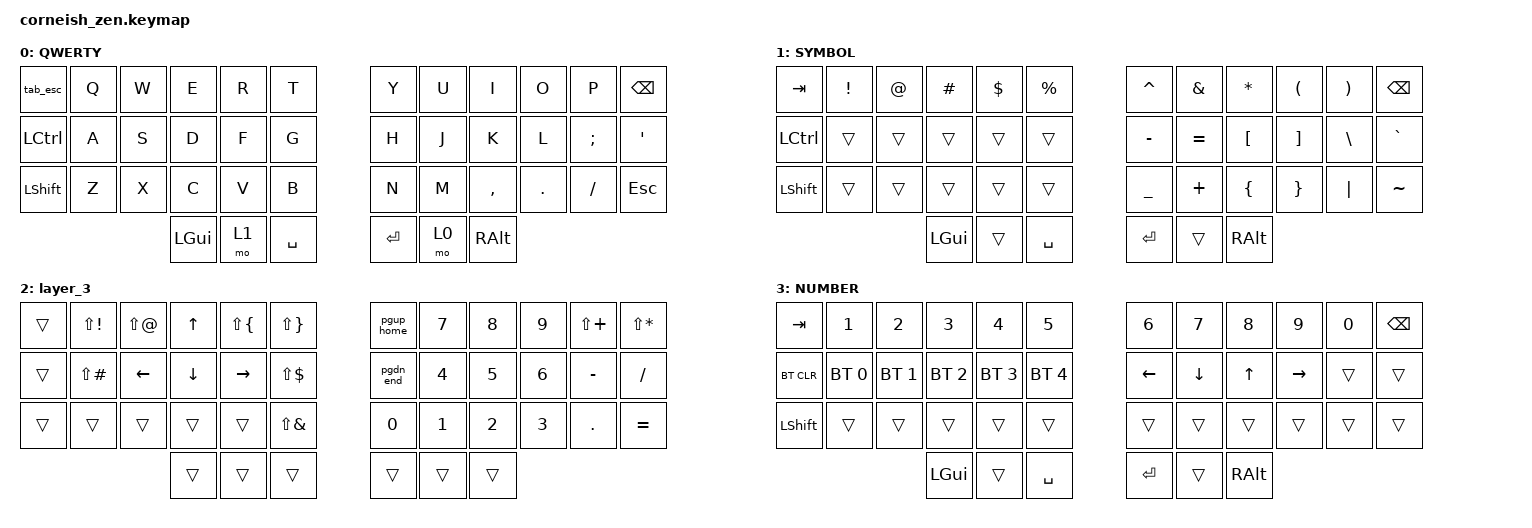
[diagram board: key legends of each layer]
#include <behaviors.dtsi>
#include <dt-bindings/zmk/bt.h>
#include <dt-bindings/zmk/keys.h>

/ {
    chosen {
        zmk,matrix_transform = &default_transform;

        //zmk,matrix_transform = &five_column_transform;
    };
};

/ {
    behaviors {
        tab_esc: tab_esc {
            compatible = "zmk,behavior-tap-dance";
            label = "TAB_ESC";
            #binding-cells = <0>;
            bindings = <&kp TAB>, <&kp ESCAPE>;
        };

        pgup_home: pgup_homeaaa {
            compatible = "zmk,behavior-tap-dance";
            label = "PGUP_HOME";
            #binding-cells = <0>;
            bindings = <&kp PG_UP>, <&kp HOME>;
        };

        pgdn_end: pgdn_end {
            compatible = "zmk,behavior-tap-dance";
            label = "PGDN_END";
            #binding-cells = <0>;
            bindings = <&kp PG_DN>, <&kp END>;
        };
    };

    keymap {
        compatible = "zmk,keymap";

        default_layer {
            label = "QWERTY";

            // -----------------------------------------------------------------------------------------
            // |  TAB |  Q  |  W  |  E  |  R  |  T  |   |  Y  |  U   |  I  |  O  |  P  | BKSP |
            // | CTRL |  A  |  S  |  D  |  F  |  G  |   |  H  |  J   |  K  |  L  |  ;  |  '   |
            // | SHFT |  Z  |  X  |  C  |  V  |  B  |   |  N  |  M   |  ,  |  .  |  /  | ESC  |
            //                    | GUI | LWR | SPC |   | ENT | RSE  | ALT |

            bindings = <
&tab_esc   &kp Q  &kp W  &kp E     &kp R  &kp T        &kp Y    &kp U  &kp I      &kp O    &kp P     &kp BSPC
&kp LCTRL  &kp A  &kp S  &kp D     &kp F  &kp G        &kp H    &kp J  &kp K      &kp L    &kp SEMI  &kp SQT
&kp LSHFT  &kp Z  &kp X  &kp C     &kp V  &kp B        &kp N    &kp M  &kp COMMA  &kp DOT  &kp FSLH  &kp ESC
                         &kp LGUI  &mo 1  &kp SPACE    &kp RET  &mo 0  &kp RALT
            >;
        };

        raise_layer {
            label = "SYMBOL";

            // -----------------------------------------------------------------------------------------
            // |  TAB |  !  |  @  |  #  |  $  |  %  |   |  ^  |  &  |  *  |  (  |  )  | BKSP |
            // | CTRL |     |     |     |     |     |   |  -  |  =  |  [  |  ]  |  \  |  `   |
            // | SHFT |     |     |     |     |     |   |  _  |  +  |  {  |  }  | "|" |  ~   |
            //                    | GUI |     | SPC |   | ENT |     | ALT |

            bindings = <
&kp TAB    &kp EXCL  &kp AT  &kp HASH  &kp DLLR  &kp PRCNT    &kp CARET  &kp AMPS   &kp STAR  &kp LPAR  &kp RPAR  &kp BSPC
&kp LCTRL  &trans    &trans  &trans    &trans    &trans       &kp MINUS  &kp EQUAL  &kp LBKT  &kp RBKT  &kp BSLH  &kp GRAVE
&kp LSHFT  &trans    &trans  &trans    &trans    &trans       &kp UNDER  &kp PLUS   &kp LBRC  &kp RBRC  &kp PIPE  &kp TILDE
                             &kp LGUI  &trans    &kp SPACE    &kp RET    &trans     &kp RALT
            >;
        };

        layer_3 {
            bindings = <
&trans  &kp LS(EXCL)   &kp LS(AT)  &kp UP    &kp LS(LBRC)  &kp LS(RBRC)    &pgup_home  &kp N7  &kp N8  &kp N9  &kp LS(PLUS)  &kp LS(STAR)
&trans  &kp LS(POUND)  &kp LEFT    &kp DOWN  &kp RIGHT     &kp LS(DLLR)    &pgdn_end   &kp N4  &kp N5  &kp N6  &kp MINUS     &kp FSLH
&trans  &trans         &trans      &trans    &trans        &kp LS(AMPS)    &kp N0      &kp N1  &kp N2  &kp N3  &kp DOT       &kp EQUAL
                                   &trans    &trans        &trans          &trans      &trans  &trans
            >;
        };

        lower_layer {
            label = "NUMBER";

            // -----------------------------------------------------------------------------------------
            // |  TAB |  1  |  2  |  3  |  4  |  5  |   |  6  |  7  |  8  |  9  |  0  | BKSP |
            // | BTCLR| BT1 | BT2 | BT3 | BT4 | BT5 |   | LFT | DWN |  UP | RGT |     |      |
            // | SHFT |     |     |     |     |     |   |     |     |     |     |     |      |
            //                    | GUI |     | SPC |   | ENT |     | ALT |

            bindings = <
&kp TAB     &kp N1        &kp N2        &kp N3        &kp N4        &kp N5          &kp N6    &kp N7    &kp N8    &kp N9     &kp N0  &kp BSPC
&bt BT_CLR  &bt BT_SEL 0  &bt BT_SEL 1  &bt BT_SEL 2  &bt BT_SEL 3  &bt BT_SEL 4    &kp LEFT  &kp DOWN  &kp UP    &kp RIGHT  &trans  &trans
&kp LSHFT   &trans        &trans        &trans        &trans        &trans          &trans    &trans    &trans    &trans     &trans  &trans
                                        &kp LGUI      &trans        &kp SPACE       &kp RET   &trans    &kp RALT
            >;
        };
    };
};
